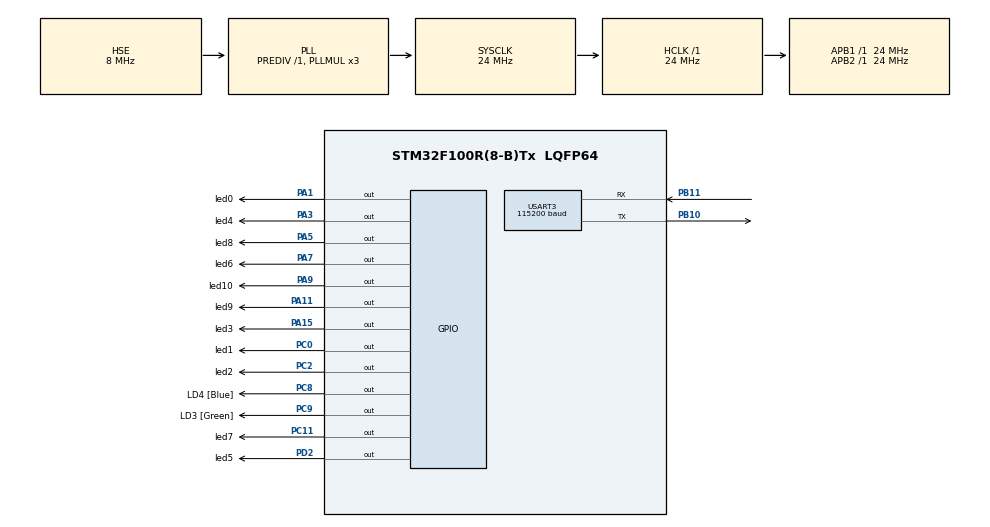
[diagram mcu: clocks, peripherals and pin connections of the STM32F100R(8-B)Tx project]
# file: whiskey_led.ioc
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Mcu.Family=STM32F1
Mcu.Name=STM32F100R(8-B)Tx
Mcu.Package=LQFP64
NVIC.PriorityGroup=NVIC_PRIORITYGROUP_4
NVIC.USART3_IRQn=true\:0\:0\:false\:false\:true\:true\:true
PA0-WKUP.Mode=SYS_WakeUp0
PA0-WKUP.Signal=SYS_WKUP
PA1.GPIO_Label=led0
PA1.Signal=GPIO_Output
PA11.GPIO_Label=led9
PA11.Signal=GPIO_Output
PA13.GPIO_Label=TMS_SWDIO
PA13.Mode=Serial_Wire
PA13.Signal=SYS_JTMS-SWDIO
PA14.GPIO_Label=TCK_SWCLK
PA14.Mode=Serial_Wire
PA14.Signal=SYS_JTCK-SWCLK
PA15.GPIO_Label=led3
PA15.Signal=GPIO_Output
PA3.GPIO_Label=led4
PA3.Signal=GPIO_Output
PA5.GPIO_Label=led8
PA5.Signal=GPIO_Output
PA7.GPIO_Label=led6
PA7.Signal=GPIO_Output
PA9.GPIO_Label=led10
PA9.Signal=GPIO_Output
PB10.Mode=Asynchronous
PB10.Signal=USART3_TX
PB11.Mode=Asynchronous
PB11.Signal=USART3_RX
PC0.GPIO_Label=led1
PC0.Signal=GPIO_Output
PC11.GPIO_Label=led7
PC11.Signal=GPIO_Output
PC14-OSC32_IN.Mode=LSE-External-Oscillator
PC14-OSC32_IN.Signal=RCC_OSC32_IN
PC15-OSC32_OUT.Mode=LSE-External-Oscillator
PC15-OSC32_OUT.Signal=RCC_OSC32_OUT
PC2.GPIO_Label=led2
PC2.Signal=GPIO_Output
PC8.GPIO_Label=LD4 [Blue]
PC8.Signal=GPIO_Output
PC9.GPIO_Label=LD3 [Green]
PC9.Signal=GPIO_Output
PD0-OSC_IN.Mode=HSE-External-Oscillator
PD0-OSC_IN.Signal=RCC_OSC_IN
PD1-OSC_OUT.Mode=HSE-External-Oscillator
PD1-OSC_OUT.Signal=RCC_OSC_OUT
PD2.GPIO_Label=led5
PD2.Signal=GPIO_Output
ProjectManager.HeapSize=0x200
ProjectManager.StackSize=0x400
ProjectManager.TargetToolchain=MDK-ARM V5.27
RCC.AHBFreq_Value=24000000
RCC.APB1Freq_Value=24000000
RCC.APB1TimFreq_Value=24000000
RCC.APB2Freq_Value=24000000
RCC.APB2TimFreq_Value=24000000
RCC.HCLKFreq_Value=24000000
RCC.PLLMUL=RCC_PLL_MUL3
RCC.PLLSource=RCC_PLLSOURCE_HSE
RCC.SYSCLKFreq_VALUE=24000000
RCC.SYSCLKSource=RCC_SYSCLKSOURCE_PLLCLK
USART3.BaudRate=115200
USART3.VirtualMode=VM_ASYNC
board=STM32VLDISCOVERY

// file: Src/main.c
/* USER CODE BEGIN Header */
/**
  ******************************************************************************
  * @file           : main.c
  * @brief          : Main program body
  ******************************************************************************
  * @attention
  *
  * <h2><center>&copy; Copyright (c) 2020 STMicroelectronics.
  * All rights reserved.</center></h2>
  *
  * This software component is licensed by ST under BSD 3-Clause license,
  * the "License"; You may not use this file except in compliance with the
  * License. You may obtain a copy of the License at:
  *                        opensource.org/licenses/BSD-3-Clause
  *
  ******************************************************************************
  */
/* USER CODE END Header */

#include "main.h"
#include "usart.h"
#include "gpio.h"

/* USER CODE BEGIN Includes */
#include "whiskey.h"
#include <stdbool.h>
/* USER CODE END Includes */

/* USER CODE BEGIN PV */
bool flag_switch_mode = false;
uint8_t rx_data[3] = {0};
typedef enum{
	REGULAR = 1,
	OFF,
	BLINK_ALL,
	UP_DOWN_ON__ALL_OFF,
	DOWN_UP_ON__ALL_OFF,
	UP_DOWN_ON__UP_DOWN_OFF,
	DOWN_UP_ON__DOWN_UP_OFF,
	UP_DOWN_ON__DOWN_UP_OFF,
	DOWN_UP_ON__UP_DOWN_OFF,
	CHAOS,
	ROUND_UP,
	ROUND_DOWN
} mode;
/* USER CODE END PV */

void SystemClock_Config(void);

int main(void)
{

  /* MCU Configuration--------------------------------------------------------*/

  /* Reset of all peripherals, Initializes the Flash interface and the Systick. */
  HAL_Init();

  /* Configure the system clock */
  SystemClock_Config();

  /* Initialize all configured peripherals */
  MX_GPIO_Init();
  MX_USART3_UART_Init();
  /* USER CODE BEGIN 2 */
	HAL_UART_Receive_IT(&huart3, rx_data, 3);
  /* USER CODE END 2 */

  /* Infinite loop */
  /* USER CODE BEGIN WHILE */
  while (1)
  {
		switch(rx_data[0])
		{
			case REGULAR: 								flag_switch_mode = false;	func_regular(); 																								break;
			case OFF:											flag_switch_mode = false;	func_off();																					 						break;
			case BLINK_ALL:								flag_switch_mode = false; func_blink_all(rx_data[1] | (rx_data[2] << 8) ); 								break;
			case UP_DOWN_ON__ALL_OFF: 		flag_switch_mode = false; func_up_down_on__all_off(rx_data[1] | (rx_data[2] << 8) ); 			break;
			case DOWN_UP_ON__ALL_OFF: 		flag_switch_mode = false; func_down_up_on__all_off(rx_data[1] | (rx_data[2] << 8) ); 			break;
			case UP_DOWN_ON__UP_DOWN_OFF:	flag_switch_mode = false; func_up_down_on__up_down_off(rx_data[1] | (rx_data[2] << 8) );	break;
			case DOWN_UP_ON__DOWN_UP_OFF: flag_switch_mode = false; func_down_up_on__down_up_off(rx_data[1] | (rx_data[2] << 8) ); 	break;
			case UP_DOWN_ON__DOWN_UP_OFF: flag_switch_mode = false; func_up_down_on__down_up_off(rx_data[1] | (rx_data[2] << 8) ); 	break;
			case DOWN_UP_ON__UP_DOWN_OFF: flag_switch_mode = false; func_down_up_on__up_down_off(rx_data[1] | (rx_data[2] << 8) ); 	break;
			case CHAOS: 									flag_switch_mode = false; func_chaos(rx_data[1] | (rx_data[2] << 8) ); 										break;
			case ROUND_UP: 								flag_switch_mode = false; func_round_up(rx_data[1] | (rx_data[2] << 8) ); 								break;
			case ROUND_DOWN: 							flag_switch_mode = false; func_round_down(rx_data[1] | (rx_data[2] << 8) ); 							break;
			default: func_off();
		}
    /* USER CODE END WHILE */

  }
}

void SystemClock_Config(void)
{
  RCC_OscInitTypeDef RCC_OscInitStruct = {0};
  RCC_ClkInitTypeDef RCC_ClkInitStruct = {0};

  /** Initializes the CPU, AHB and APB busses clocks
  */
  RCC_OscInitStruct.OscillatorType = RCC_OSCILLATORTYPE_HSE;
  RCC_OscInitStruct.HSEState = RCC_HSE_ON;
  RCC_OscInitStruct.HSEPredivValue = RCC_HSE_PREDIV_DIV1;
  RCC_OscInitStruct.PLL.PLLState = RCC_PLL_ON;
  RCC_OscInitStruct.PLL.PLLSource = RCC_PLLSOURCE_HSE;
  RCC_OscInitStruct.PLL.PLLMUL = RCC_PLL_MUL3;
  if (HAL_RCC_OscConfig(&RCC_OscInitStruct) != HAL_OK)
  {
    Error_Handler();
  }
  /** Initializes the CPU, AHB and APB busses clocks
  */
  RCC_ClkInitStruct.ClockType = RCC_CLOCKTYPE_HCLK|RCC_CLOCKTYPE_SYSCLK
                              |RCC_CLOCKTYPE_PCLK1|RCC_CLOCKTYPE_PCLK2;
  RCC_ClkInitStruct.SYSCLKSource = RCC_SYSCLKSOURCE_PLLCLK;
  RCC_ClkInitStruct.AHBCLKDivider = RCC_SYSCLK_DIV1;
  RCC_ClkInitStruct.APB1CLKDivider = RCC_HCLK_DIV1;
  RCC_ClkInitStruct.APB2CLKDivider = RCC_HCLK_DIV1;

  if (HAL_RCC_ClockConfig(&RCC_ClkInitStruct, FLASH_LATENCY_0) != HAL_OK)
  {
    Error_Handler();
  }
}

/* USER CODE BEGIN 4 */
void HAL_Delay(uint32_t Delay)
{
  uint32_t tickstart = HAL_GetTick();
  uint32_t wait = Delay;

  /* Add a freq to guarantee minimum wait */
  if (wait < HAL_MAX_DELAY)
  {
    wait += (uint32_t)(uwTickFreq);
  }

  while ( ((HAL_GetTick() - tickstart) < wait) && (!flag_switch_mode) )
  {
  }
}

void HAL_UART_RxCpltCallback(UART_HandleTypeDef *huart)
{
	if(huart == &huart3)
	{
		flag_switch_mode = true;
		HAL_UART_Receive_IT(&huart3, rx_data, 3);
	}
}
/* USER CODE END 4 */

void Error_Handler(void)
{
}

/************************ (C) COPYRIGHT STMicroelectronics *****END OF FILE****/
